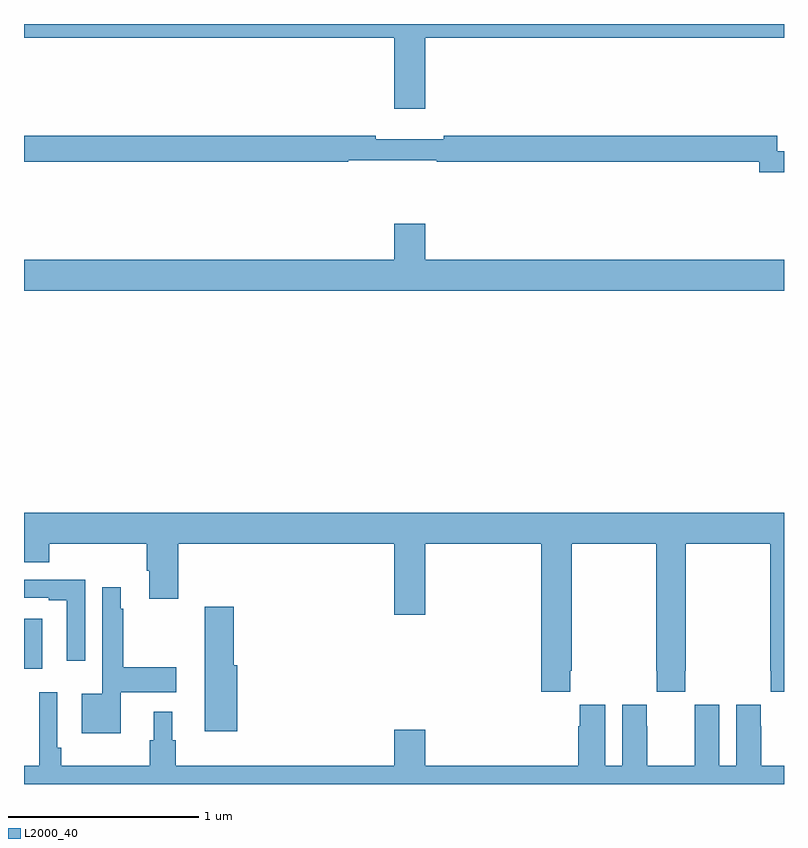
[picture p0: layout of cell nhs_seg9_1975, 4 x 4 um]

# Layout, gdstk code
import gdstk
lib = gdstk.Library(unit=1e-6, precision=1e-09)
def R(c, l, rs):  # rectangles x0, y0, x1, y1
    for r in rs: c.add(gdstk.rectangle(r[:2], r[2:], *l))
def P(c, l, *ps):  # polygons
    for p in ps: c.add(gdstk.Polygon(p, *l))
L2000_40 = (2000, 40)

nhs_seg9_1975 = lib.new_cell('nhs_seg9_1975')
R(nhs_seg9_1975, L2000_40, [(223,1185.107,223.096,1185.37)])
P(nhs_seg9_1975, L2000_40, [(225.112,1188.428),(227,1188.428),(227,1188.5),(223,1188.5),(223,1188.428),(224.948,1188.428),(224.948,1188.054),(225.112,1188.054)],
  [(227,1187.83),(226.965,1187.83),(226.965,1187.912),(225.208,1187.912),(225.208,1187.893),(224.852,1187.893),(224.852,1187.912),(223,1187.912),(223,1187.776),(224.707,1187.776),(224.707,1187.784),(225.172,1187.784),(225.172,1187.776),(226.869,1187.776),(226.869,1187.721),(227,1187.721)],
  [(227,1187.26),(225.112,1187.26),(225.112,1187.449),(224.948,1187.449),(224.948,1187.26),(223,1187.26),(223,1187.096),(227,1187.096)],
  [(225.875,1185.097),(225.882,1185.097),(225.882,1185.764),(226.327,1185.764),(226.327,1185.097),(226.329,1185.097),(226.329,1184.985),(226.479,1184.985),(226.479,1185.097),(226.482,1185.097),(226.482,1185.764),(226.927,1185.764),(226.927,1185.097),(226.929,1185.097),(226.929,1184.985),(227,1184.985),(227,1185.928),(223,1185.928),(223,1185.666),(223.133,1185.666),(223.133,1185.764),(223.646,1185.764),(223.646,1185.622),(223.658,1185.622),(223.658,1185.474),(223.811,1185.474),(223.811,1185.764),(224.948,1185.764),(224.948,1185.39),(225.112,1185.39),(225.112,1185.764),(225.722,1185.764),(225.722,1184.985),(225.875,1184.985)],
  [(223.323,1185.576),(223,1185.576),(223,1185.48),(223.13,1185.48),(223.13,1185.468),(223.226,1185.468),(223.226,1185.15),(223.323,1185.15)],
  [(223.51,1184.984),(223.801,1184.984),(223.801,1185.114),(223.522,1185.114),(223.522,1185.422),(223.51,1185.422),(223.51,1185.535),(223.413,1185.535),(223.413,1184.974),(223.304,1184.974),(223.304,1184.768),(223.51,1184.768)],
  [(224.123,1185.126),(224.105,1185.126),(224.105,1185.433),(223.951,1185.433),(223.951,1185.126),(223.952,1185.126),(223.952,1184.778),(224.123,1184.778)],
  [(226.148,1184.917),(226.148,1184.596),(226.06,1184.596),(226.06,1184.917),(225.926,1184.917),(225.926,1184.804),(225.917,1184.804),(225.917,1184.596),(225.112,1184.596),(225.112,1184.785),(224.948,1184.785),(224.948,1184.596),(223.799,1184.596),(223.799,1184.73),(223.78,1184.73),(223.78,1184.881),(223.682,1184.881),(223.682,1184.73),(223.663,1184.73),(223.663,1184.596),(223.196,1184.596),(223.196,1184.692),(223.176,1184.692),(223.176,1184.983),(223.079,1184.983),(223.079,1184.596),(223,1184.596),(223,1184.5),(227,1184.5),(227,1184.596),(226.879,1184.596),(226.879,1184.804),(226.878,1184.804),(226.878,1184.917),(226.748,1184.917),(226.748,1184.596),(226.66,1184.596),(226.66,1184.917),(226.53,1184.917),(226.53,1184.804),(226.529,1184.804),(226.529,1184.596),(226.279,1184.596),(226.279,1184.804),(226.278,1184.804),(226.278,1184.917)])

lib.write_gds('nhs_seg9_1975.gds')
